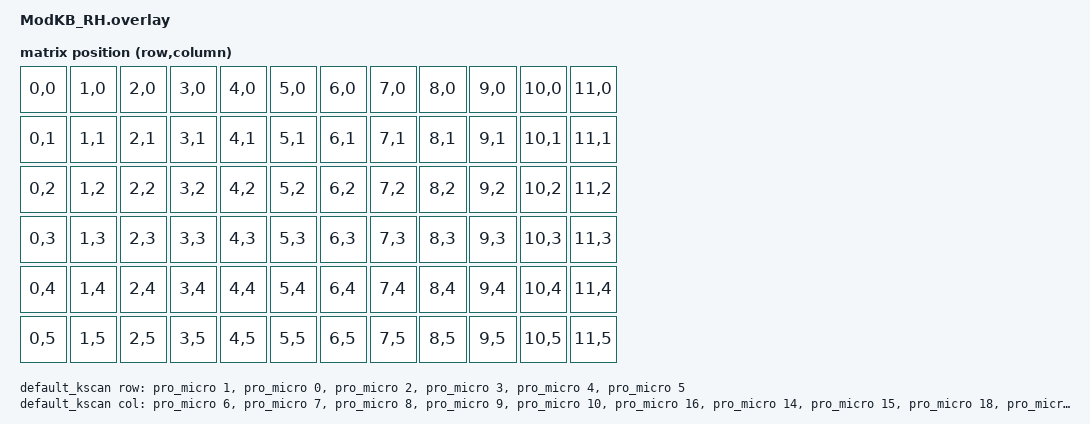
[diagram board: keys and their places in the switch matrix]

#include <dt-bindings/zmk/matrix_transform.h>

/ {
    chosen{
        zmk,kscan = &default_kscan;
        zmk,matrix_transform = &default_transform;
    };


// PIN MAPPING RIGHT HALF

    // diode move col2row or row2col?

    default_kscan: kscan { 
        compatible = "zmk,kscan-gpio-matrix";
        diode-direction = "col2row";
        row-gpios
            = <&pro_micro 1 (GPIO_ACTIVE_HIGH | GPIO_PULL_DOWN) > // row 21
            , <&pro_micro 0 (GPIO_ACTIVE_HIGH | GPIO_PULL_DOWN) > // row 22
            , <&pro_micro 2 (GPIO_ACTIVE_HIGH | GPIO_PULL_DOWN) > // row 23
            , <&pro_micro 3 (GPIO_ACTIVE_HIGH | GPIO_PULL_DOWN) > // row 24
            , <&pro_micro 4 (GPIO_ACTIVE_HIGH | GPIO_PULL_DOWN) > // row 25
            , <&pro_micro 5 (GPIO_ACTIVE_HIGH | GPIO_PULL_DOWN) > // row 26
            ;
        col-gpios 
            = <&pro_micro 6 GPIO_ACTIVE_HIGH > // column 21
            , <&pro_micro 7 GPIO_ACTIVE_HIGH > // column 22
            , <&pro_micro 8 GPIO_ACTIVE_HIGH > // column 23
            , <&pro_micro 9 GPIO_ACTIVE_HIGH > // column 24
            , <&pro_micro 10 GPIO_ACTIVE_HIGH > // column 25
            , <&pro_micro 16 GPIO_ACTIVE_HIGH > // column 26
            , <&pro_micro 14 GPIO_ACTIVE_HIGH > // column 27
            , <&pro_micro 15 GPIO_ACTIVE_HIGH > // column 28
            , <&pro_micro 18 GPIO_ACTIVE_HIGH > // column 29
            , <&pro_micro 19 GPIO_ACTIVE_HIGH > // column 210
            , <&pro_micro 20 GPIO_ACTIVE_HIGH > // column 211
            , <&pro_micro 21 GPIO_ACTIVE_HIGH > // column 212
            ;
    };


// Physical layout
    default_transform: matrix_transform {
        compatible = "zmk,matrix-transform";
        columns = <12>;
        rows = <6>;
        map = <
            RC(0,0) RC(1,0) RC(2,0) RC(3,0) RC(4,0) RC(5,0) RC(6,0) RC(7,0) RC(8,0) RC(9,0) RC(10,0) RC(11,0)
            RC(0,1) RC(1,1) RC(2,1) RC(3,1) RC(4,1) RC(5,1) RC(6,1) RC(7,1) RC(8,1) RC(9,1) RC(10,1) RC(11,1)
            RC(0,2) RC(1,2) RC(2,2) RC(3,2) RC(4,2) RC(5,2) RC(6,2) RC(7,2) RC(8,2) RC(9,2) RC(10,2) RC(11,2)
            RC(0,3) RC(1,3) RC(2,3) RC(3,3) RC(4,3) RC(5,3) RC(6,3) RC(7,3) RC(8,3) RC(9,3) RC(10,3) RC(11,3)
            RC(0,4) RC(1,4) RC(2,4) RC(3,4) RC(4,4) RC(5,4) RC(6,4) RC(7,4) RC(8,4) RC(9,4) RC(10,4) RC(11,4)
            RC(0,5) RC(1,5) RC(2,5) RC(3,5) RC(4,5) RC(5,5) RC(6,5) RC(7,5) RC(8,5) RC(9,5) RC(10,5) RC(11,5)
        >;
    };
};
